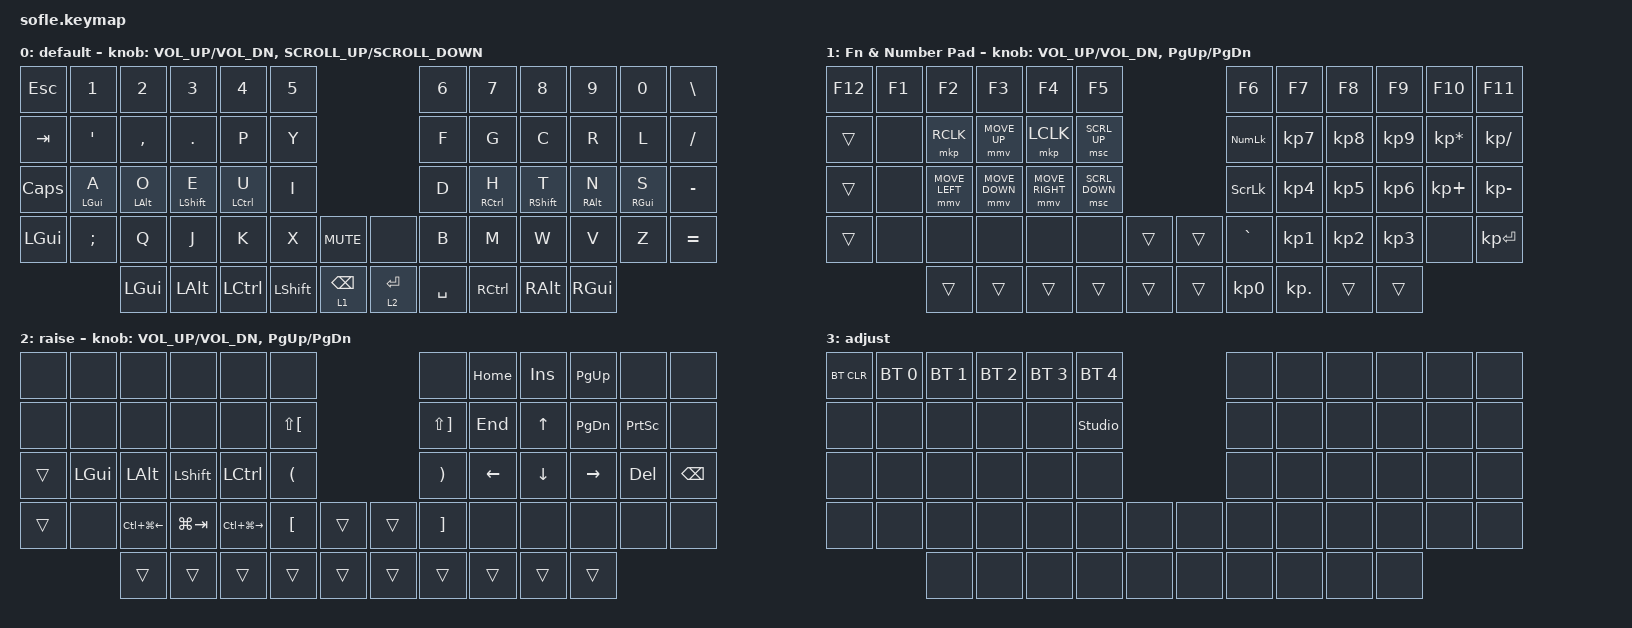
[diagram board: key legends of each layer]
/*
 * Copyright (c) 2020 The ZMK Contributors
 *
 * SPDX-License-Identifier: MIT
 */

#include <behaviors.dtsi>
#include <dt-bindings/zmk/bt.h>
#include <dt-bindings/zmk/keys.h>
#include <dt-bindings/zmk/pointing.h>

#define BASE 0
#define LOWER 1
#define RAISE 2
#define ADJUST 3

/ {
    // Activate ADJUST layer by pressing raise and lower

    conditional_layers {
        compatible = "zmk,conditional-layers";

        adjust_layer {
            if-layers = <LOWER RAISE>;
            then-layer = <ADJUST>;
        };
    };

    behaviors {
        hml: home_row_left {
            compatible = "zmk,behavior-hold-tap";
            label = "HML";
            bindings = <&kp>, <&kp>;

            #binding-cells = <2>;
            tapping-term-ms = <280>;
            flavor = "balanced";
            hold-trigger-on-release;
            hold-trigger-key-positions = <6 7 8 9 10 11 18 19 20 21 22 23 30 31 32 33 34 35 44 45 46 47 48 49>;
            quick-tap-ms = <175>;
            require-prior-idle-ms = <150>;
        };

        hmr: homerow_mod_right {
            compatible = "zmk,behavior-hold-tap";
            label = "HMR";
            bindings = <&kp>, <&kp>;

            #binding-cells = <2>;
            tapping-term-ms = <280>;
            flavor = "balanced";
            hold-trigger-on-release;
            quick-tap-ms = <175>;
            require-prior-idle-ms = <150>;
            hold-trigger-key-positions = <0 1 2 3 4 5 12 13 14 15 16 17 24 25 26 27 28 29 36 37 38 39 40 41>;
        };
    };

    keymap {
        compatible = "zmk,keymap";

        default_layer {
            display-name = "default";
            bindings = <
&kp ESCAPE    &kp N1           &kp N2           &kp N3             &kp N4               &kp N5                                          &kp N6     &kp N7                &kp N8              &kp N9            &kp N0            &kp BACKSLASH
&kp TAB       &kp SQT          &kp COMMA        &kp PERIOD         &kp P                &kp Y                                           &kp F      &kp G                 &kp C               &kp R             &kp L             &kp SLASH
&kp CAPSLOCK  &hml LEFT_GUI A  &hml LEFT_ALT O  &hml LEFT_SHIFT E  &hml LEFT_CONTROL U  &kp I                                           &kp D      &hmr RIGHT_CONTROL H  &hmr RIGHT_SHIFT T  &hmr RIGHT_ALT N  &hmr RIGHT_GUI S  &kp MINUS
&kp LEFT_GUI  &kp SEMICOLON    &kp Q            &kp J              &kp K                &kp X           &kp C_MUTE         &none        &kp B      &kp M                 &kp W               &kp V             &kp Z             &kp EQUAL
                               &kp LGUI         &kp LALT           &kp LCTRL            &kp LEFT_SHIFT  &lt 1 BACKSPACE    &lt 2 ENTER  &kp SPACE  &kp RCTRL             &kp RALT            &kp RGUI
            >;

            sensor-bindings =
                <&inc_dec_kp C_VOL_UP C_VOL_DN>,
                <&inc_dec_kp K_SCROLL_UP K_SCROLL_DOWN>;
        };

        Fn_and_numpad {
            display-name = "Fn & Number Pad";
            bindings = <
&kp F12  &kp F1  &kp F2          &kp F3          &kp F4           &kp F5                            &kp F6           &kp F7           &kp F8           &kp F9           &kp F10          &kp F11
&trans   &none   &mkp RCLK       &mmv MOVE_UP    &mkp LCLK        &msc SCRL_UP                      &kp KP_NUMLOCK   &kp KP_NUMBER_7  &kp KP_NUMBER_8  &kp KP_NUMBER_9  &kp KP_ASTERISK  &kp KP_DIVIDE
&trans   &none   &mmv MOVE_LEFT  &mmv MOVE_DOWN  &mmv MOVE_RIGHT  &msc SCRL_DOWN                    &kp SCROLLLOCK   &kp KP_NUMBER_4  &kp KP_NUMBER_5  &kp KP_NUMBER_6  &kp KP_PLUS      &kp KP_MINUS
&trans   &none   &none           &none           &none            &none           &trans    &trans  &kp GRAVE        &kp KP_NUMBER_1  &kp KP_NUMBER_2  &kp KP_NUMBER_3  &none            &kp KP_ENTER
                 &trans          &trans          &trans           &trans          &trans    &trans  &kp KP_NUMBER_0  &kp KP_DOT       &trans           &trans
            >;

            sensor-bindings = <&inc_dec_kp C_VOL_UP C_VOL_DN &inc_dec_kp PG_UP PG_DN>;
        };

        navigation {
            display-name = "raise";
            bindings = <
&none   &none         &none             &none        &none              &none                                   &none                  &kp HOME  &kp INSERT  &kp PAGE_UP    &none            &none
&none   &none         &none             &none        &none              &kp LS(LEFT_BRACKET)                    &kp LS(RIGHT_BRACKET)  &kp END   &kp UP      &kp PAGE_DOWN  &kp PRINTSCREEN  &none
&trans  &kp LEFT_GUI  &kp LEFT_ALT      &kp LSHFT    &kp LCTRL          &kp LEFT_PARENTHESIS                    &kp RIGHT_PARENTHESIS  &kp LEFT  &kp DOWN    &kp RIGHT      &kp DEL          &kp BSPC
&trans  &none         &kp LC(LG(LEFT))  &kp LG(TAB)  &kp LC(LG(RIGHT))  &kp LEFT_BRACKET      &trans    &trans  &kp RIGHT_BRACKET      &none     &none       &none          &none            &none
                      &trans            &trans       &trans             &trans                &trans    &trans  &trans                 &trans    &trans      &trans
            >;

            sensor-bindings = <&inc_dec_kp C_VOL_UP C_VOL_DN &inc_dec_kp PG_UP PG_DN>;
        };

        system {
            display-name = "adjust";
            bindings = <
&bt BT_CLR  &bt BT_SEL 0  &bt BT_SEL 1  &bt BT_SEL 2  &bt BT_SEL 3  &bt BT_SEL 4                    &none  &none  &none  &none  &none  &none
&none       &none         &none         &none         &none         &studio_unlock                  &none  &none  &none  &none  &none  &none
&none       &none         &none         &none         &none         &none                           &none  &none  &none  &none  &none  &none
&none       &none         &none         &none         &none         &none           &none    &none  &none  &none  &none  &none  &none  &none
                          &none         &none         &none         &none           &none    &none  &none  &none  &none  &none
            >;
        };
    };
};
